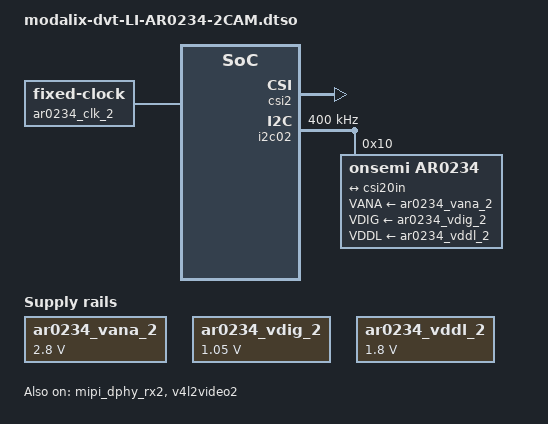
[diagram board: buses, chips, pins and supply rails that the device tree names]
// SPDX-License-Identifier: (GPL-2.0+ OR MIT)
/*
 * Copyright (c) 2026 SiMa ai
 */

/dts-v1/;
/plugin/;

&{/} {
    ar0234_vana_2: csi2_fixedregulator@0 {
        compatible = "regulator-fixed";
        regulator-name = "ar0234_vana_2";
        regulator-min-microvolt = <2800000>;
        regulator-max-microvolt = <2800000>;
        enable-active-high;
        startup-delay-us = <300000>;
        regulator-always-on;
    };
    ar0234_vdig_2: csi2_fixedregulator@1 {
        compatible = "regulator-fixed";
        regulator-name = "ar0234_vdig_2";
        regulator-min-microvolt = <1050000>;
        regulator-max-microvolt = <1050000>;
        regulator-always-on;
    };
    ar0234_vddl_2: csi2_fixedregulator@2 {
        compatible = "regulator-fixed";
        regulator-name = "ar0234_vddl_2";
        regulator-min-microvolt = <1800000>;
        regulator-max-microvolt = <1800000>;
        regulator-always-on;
    };
    ar0234_clk_2: csi2_camera-clk {
        compatible = "fixed-clock";
        #clock-cells = <0>;
        clock-frequency = <27000000>;
    };
};

&csi2 {
    status = "okay";
};

&axi_vdma2 {
    status = "okay";
};

&mipi_dphy_rx2 {
    status = "okay";
};

&v4l2video2 {
    status = "okay";
};

&v4l2vdma2 {
    status = "okay";
};

&csi20in{
    clock-lanes = <0>;
    data-lanes = <1 2>;
    link-frequencies = /bits/ 64 <270000000>;
    remote-endpoint = <&cam20out>;
    clock-continuous;
};

&i2c02 {
        status = "okay";
        clock-frequency = <400000>;
        #address-cells = <1>;
        #size-cells = <0>;

        ar0234: ar0234@10 {
                compatible = "onsemi,ar0234";
                reg = <0x10>;

                clocks = <&ar0234_clk_2>;
                clock-names = "xclk";

                VANA-supply = <&ar0234_vana_2>;
                VDIG-supply = <&ar0234_vdig_2>;
                VDDL-supply = <&ar0234_vddl_2>;

                port@1 {
                        cam20out: endpoint@0 {
                                clock-lanes = <0>;
                                data-lanes = <1 2>;
                                link-frequencies = /bits/ 64 <270000000>;
                                remote-endpoint = <&csi20in>;
                                clock-continuous;
                        };
                };
        };
};
